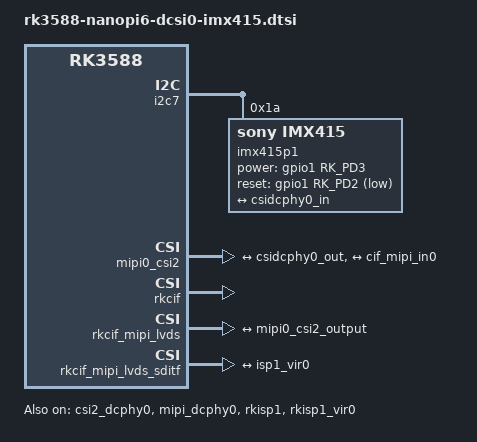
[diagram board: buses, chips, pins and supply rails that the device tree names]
// SPDX-License-Identifier: (GPL-2.0+ OR MIT)
/*
 * Copyright (c) 2022 FriendlyElec Computer Tech. Co., Ltd.
 * (http://www.friendlyelec.com)
 *
 * Copyright (c) 2022 Rockchip Electronics Co., Ltd.
 */

&csi2_dcphy0 {
	status = "okay";

	ports {
		#address-cells = <1>;
		#size-cells = <0>;

		port@0 {
			reg = <0>;
			#address-cells = <1>;
			#size-cells = <0>;

			csidcphy0_in: endpoint@1 {
				reg = <1>;
				remote-endpoint = <&imx415_out1>;
				data-lanes = <1 2 3 4>;
			};
		};

		port@1 {
			reg = <1>;
			#address-cells = <1>;
			#size-cells = <0>;

			csidcphy0_out: endpoint@0 {
				reg = <0>;
				remote-endpoint = <&mipi0_csi2_input>;
			};
		};
	};
};

&i2c7 {
	status = "okay";

	imx415p1: imx415@1a {
		compatible = "sony,imx415";
		reg = <0x1a>;
		clocks = <&cru CLK_MIPI_CAMARAOUT_M2>;
		clock-names = "xvclk";
		power-domains = <&power RK3588_PD_VI>;
		pinctrl-names = "default";
		pinctrl-0 = <&mipim0_camera2_clk>;

		power-gpios = <&gpio1 RK_PD3 GPIO_ACTIVE_HIGH>;
		reset-gpios = <&gpio1 RK_PD2 GPIO_ACTIVE_LOW>;
		rockchip,camera-module-index = <1>;
		rockchip,camera-module-facing = "back";
		rockchip,camera-module-name = "CMK-OT2022-PX1";
		rockchip,camera-module-lens-name = "IR0147-50IRC-8M-F20";

		port {
			imx415_out1: endpoint {
				remote-endpoint = <&csidcphy0_in>;
				data-lanes = <1 2 3 4>;
			};
		};
	};
};

&mipi_dcphy0 {
    status = "okay";
};

&mipi0_csi2 {
	status = "okay";

	ports {
		#address-cells = <1>;
		#size-cells = <0>;

		port@0 {
			reg = <0>;
			#address-cells = <1>;
			#size-cells = <0>;

			mipi0_csi2_input: endpoint@1 {
				reg = <1>;
				remote-endpoint = <&csidcphy0_out>;
			};
		};

		port@1 {
			reg = <1>;
			#address-cells = <1>;
			#size-cells = <0>;

			mipi0_csi2_output: endpoint@0 {
				reg = <0>;
				remote-endpoint = <&cif_mipi_in0>;
			};
		};
	};
};

&rkcif {
	status = "okay";
};

&rkcif_mipi_lvds {
	status = "okay";

	port {
		cif_mipi_in0: endpoint {
			remote-endpoint = <&mipi0_csi2_output>;
		};
	};
};

&rkcif_mipi_lvds_sditf {
	status = "okay";

	port {
		mipi2_lvds_sditf: endpoint {
			remote-endpoint = <&isp1_vir0>;
		};
	};
};

&rkcif_mmu {
	status = "okay";
};

&rkisp1 {
	status = "okay";
};

&isp1_mmu {
	status = "okay";
};

&rkisp1_vir0 {
	status = "okay";

	port {
		#address-cells = <1>;
		#size-cells = <0>;

		isp1_vir0: endpoint@0 {
			reg = <0>;
			remote-endpoint = <&mipi2_lvds_sditf>;
		};
	};
};
